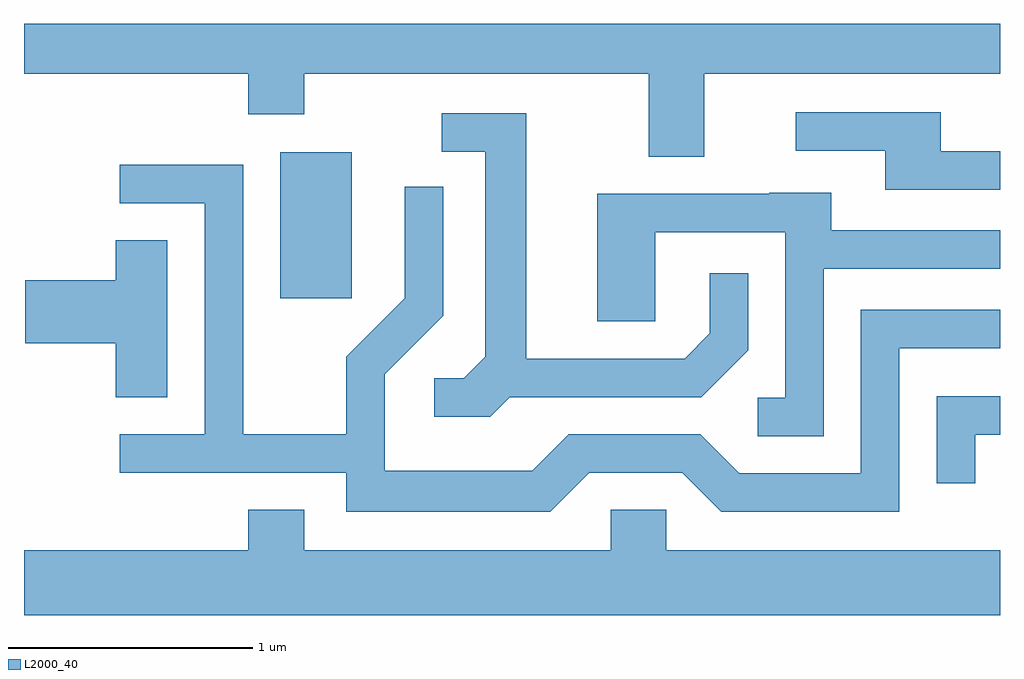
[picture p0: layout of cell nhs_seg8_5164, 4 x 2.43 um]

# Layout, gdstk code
import gdstk
lib = gdstk.Library(unit=1e-6, precision=1e-09)
def R(c, l, rs):  # rectangles x0, y0, x1, y1
    for r in rs: c.add(gdstk.rectangle(r[:2], r[2:], *l))
def P(c, l, *ps):  # polygons
    for p in ps: c.add(gdstk.Polygon(p, *l))
L2000_40 = (2000, 40)

nhs_seg8_5164 = lib.new_cell('nhs_seg8_5164')
R(nhs_seg8_5164, L2000_40, [(340.661,1893.216,340.954,1893.814)])
P(nhs_seg8_5164, L2000_40, [(342.399,1894.136),(343.611,1894.136),(343.611,1894.342),(339.611,1894.342),(339.611,1894.136),(340.531,1894.136),(340.531,1893.971),(340.759,1893.971),(340.759,1894.136),(342.171,1894.136),(342.171,1893.796),(342.399,1893.796)],
  [(343.611,1893.819),(343.369,1893.819),(343.369,1893.979),(342.773,1893.979),(342.773,1893.821),(343.141,1893.821),(343.141,1893.661),(343.611,1893.661)],
  [(341.602,1892.811),(342.387,1892.811),(342.579,1893.004),(342.579,1893.318),(342.421,1893.318),(342.421,1893.072),(342.319,1892.969),(341.669,1892.969),(341.669,1893.974),(341.323,1893.974),(341.323,1893.816),(341.501,1893.816),(341.501,1892.977),(341.414,1892.889),(341.293,1892.889),(341.293,1892.731),(341.522,1892.731)],
  [(341.927,1892.501),(342.309,1892.501),(342.469,1892.341),(343.199,1892.341),(343.199,1893.011),(343.611,1893.011),(343.611,1893.169),(343.041,1893.169),(343.041,1892.499),(342.542,1892.499),(342.382,1892.659),(341.844,1892.659),(341.694,1892.509),(341.089,1892.509),(341.089,1892.904),(341.329,1893.144),(341.329,1893.673),(341.171,1893.673),(341.171,1893.217),(340.931,1892.977),(340.931,1892.659),(340.509,1892.659),(340.509,1893.764),(340.003,1893.764),(340.003,1893.606),(340.351,1893.606),(340.351,1892.659),(340.003,1892.659),(340.003,1892.501),(340.931,1892.501),(340.931,1892.341),(341.767,1892.341)],
  [(342.889,1893.336),(343.611,1893.336),(343.611,1893.494),(342.919,1893.494),(342.919,1893.649),(342.665,1893.649),(342.665,1893.644),(341.961,1893.644),(341.961,1893.121),(342.199,1893.121),(342.199,1893.486),(342.731,1893.486),(342.731,1892.809),(342.618,1892.809),(342.618,1892.651),(342.889,1892.651)],
  [(340.199,1893.454),(339.986,1893.454),(339.986,1893.289),(339.616,1893.289),(339.616,1893.031),(339.986,1893.031),(339.986,1892.811),(340.199,1892.811)],
  [(343.509,1892.656),(343.611,1892.656),(343.611,1892.814),(343.351,1892.814),(343.351,1892.458),(343.509,1892.458)],
  [(343.611,1892.184),(342.244,1892.184),(342.244,1892.349),(342.016,1892.349),(342.016,1892.184),(340.759,1892.184),(340.759,1892.349),(340.531,1892.349),(340.531,1892.184),(339.611,1892.184),(339.611,1891.916),(343.611,1891.916)])

lib.write_gds('nhs_seg8_5164.gds')
